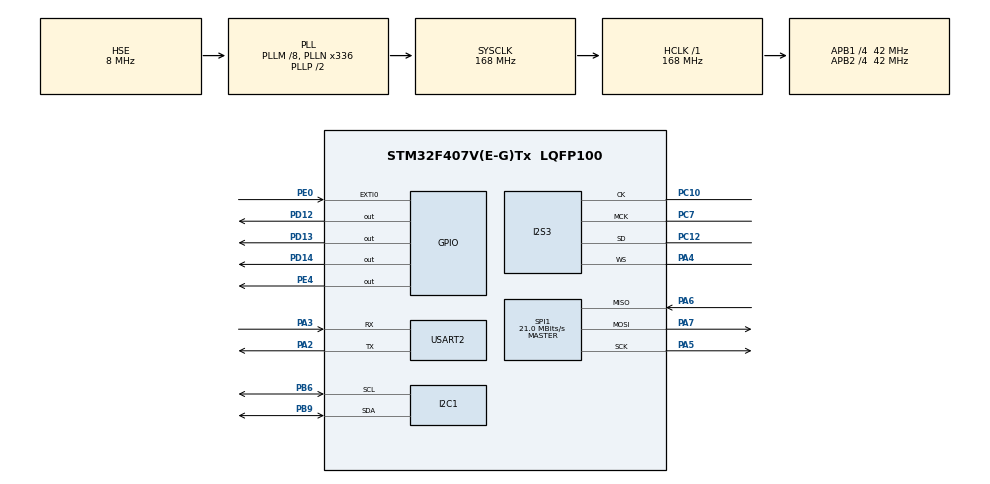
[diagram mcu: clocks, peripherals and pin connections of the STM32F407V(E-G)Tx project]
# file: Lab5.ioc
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Dma.Request0=SPI3_TX
Dma.SPI3_TX.0.Direction=DMA_MEMORY_TO_PERIPH
Dma.SPI3_TX.0.FIFOMode=DMA_FIFOMODE_ENABLE
Dma.SPI3_TX.0.FIFOThreshold=DMA_FIFO_THRESHOLD_FULL
Dma.SPI3_TX.0.Instance=DMA1_Stream5
Dma.SPI3_TX.0.MemBurst=DMA_MBURST_SINGLE
Dma.SPI3_TX.0.MemDataAlignment=DMA_MDATAALIGN_HALFWORD
Dma.SPI3_TX.0.MemInc=DMA_MINC_ENABLE
Dma.SPI3_TX.0.Mode=DMA_CIRCULAR
Dma.SPI3_TX.0.PeriphBurst=DMA_PBURST_SINGLE
Dma.SPI3_TX.0.PeriphDataAlignment=DMA_PDATAALIGN_HALFWORD
Dma.SPI3_TX.0.PeriphInc=DMA_PINC_DISABLE
Dma.SPI3_TX.0.Priority=DMA_PRIORITY_LOW
I2S3.AudioFreq=I2S_AUDIOFREQ_44K
I2S3.ErrorAudioFreq=0.24 %
I2S3.FullDuplexMode=I2S_FULLDUPLEXMODE_DISABLE
I2S3.Instance=SPI$Index
I2S3.RealAudioFreq=44.108 KHz
I2S3.VirtualMode=I2S_MODE_MASTER
Mcu.Family=STM32F4
Mcu.Name=STM32F407V(E-G)Tx
Mcu.Package=LQFP100
NVIC.DMA1_Stream5_IRQn=true\:0\:0\:false\:false\:true\:false\:true\:true
NVIC.EXTI0_IRQn=true\:15\:0\:true\:false\:true\:true\:true\:true
NVIC.PriorityGroup=NVIC_PRIORITYGROUP_4
NVIC.TIM7_IRQn=true\:15\:0\:false\:false\:true\:false\:true\:true
NVIC.TimeBase=TIM7_IRQn
NVIC.TimeBaseIP=TIM7
PA13.Mode=Serial_Wire
PA13.Signal=SYS_JTMS-SWDIO
PA14.Mode=Serial_Wire
PA14.Signal=SYS_JTCK-SWCLK
PA2.Mode=Asynchronous
PA2.Signal=USART2_TX
PA3.Mode=Asynchronous
PA3.Signal=USART2_RX
PA4.Mode=Half_Duplex_Master
PA4.Signal=I2S3_WS
PA5.Mode=Full_Duplex_Master
PA5.Signal=SPI1_SCK
PA6.Mode=Full_Duplex_Master
PA6.Signal=SPI1_MISO
PA7.Mode=Full_Duplex_Master
PA7.Signal=SPI1_MOSI
PB6.GPIO_Pu=GPIO_PULLUP
PB6.Mode=I2C
PB6.Signal=I2C1_SCL
PB9.GPIO_Pu=GPIO_PULLUP
PB9.Mode=I2C
PB9.Signal=I2C1_SDA
PC10.Mode=Half_Duplex_Master
PC10.Signal=I2S3_CK
PC12.Mode=Half_Duplex_Master
PC12.Signal=I2S3_SD
PC7.Mode=Master_Clock_Activated
PC7.Signal=I2S3_MCK
PD12.Signal=GPIO_Output
PD13.Signal=GPIO_Output
PD14.Signal=GPIO_Output
PE0.Signal=GPXTI0
PE4.Signal=GPIO_Output
PH0-OSC_IN.Mode=HSE-External-Oscillator
PH0-OSC_IN.Signal=RCC_OSC_IN
PH1-OSC_OUT.Mode=HSE-External-Oscillator
PH1-OSC_OUT.Signal=RCC_OSC_OUT
ProjectManager.HeapSize=0x200
ProjectManager.StackSize=0x400
ProjectManager.TargetToolchain=STM32CubeIDE
RCC.48MHZClocksFreq_Value=84000000
RCC.AHBFreq_Value=168000000
RCC.APB1CLKDivider=RCC_HCLK_DIV4
RCC.APB1Freq_Value=42000000
RCC.APB1TimFreq_Value=84000000
RCC.APB2CLKDivider=RCC_HCLK_DIV4
RCC.APB2Freq_Value=42000000
RCC.APB2TimFreq_Value=84000000
RCC.CortexFreq_Value=168000000
RCC.HCLKFreq_Value=168000000
RCC.HSE_VALUE=8000000
RCC.HSI_VALUE=16000000
RCC.LSE_VALUE=32768
RCC.PLLI2SN=271
RCC.PLLI2SR=6
RCC.PLLM=8
RCC.PLLN=336
RCC.PLLSourceVirtual=RCC_PLLSOURCE_HSE
RCC.SYSCLKFreq_VALUE=168000000
RCC.SYSCLKSource=RCC_SYSCLKSOURCE_PLLCLK
RCC.VCOOutputFreq_Value=336000000
SPI1.BaudRatePrescaler=SPI_BAUDRATEPRESCALER_2
SPI1.CalculateBaudRate=21.0 MBits/s
SPI1.Direction=SPI_DIRECTION_2LINES
SPI1.Mode=SPI_MODE_MASTER
SPI1.VirtualType=VM_MASTER
USART2.VirtualMode=VM_ASYNC
VP_SYS_VS_tim7.Mode=TIM7
board=custom

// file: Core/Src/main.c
/* USER CODE BEGIN Header */
/**
 ******************************************************************************
 * @file           : main.c
 * @brief          : Main program body
 ******************************************************************************
 * @attention
 *
 * <h2><center>&copy; Copyright (c) 2021 STMicroelectronics.
 * All rights reserved.</center></h2>
 *
 * This software component is licensed by ST under BSD 3-Clause license,
 * the "License"; You may not use this file except in compliance with the
 * License. You may obtain a copy of the License at:
 *                        opensource.org/licenses/BSD-3-Clause
 *
 ******************************************************************************
 */

#include "mmc_sd.h"
#include "fatfs.h"
#include "fops.h"
#include <string.h>
//#include "main.h"
#include "FreeRTOS.h"

#include "queue.h"
#include "semphr.h"
#include "task.h"
#include "File_Handling.h"
#include "waveplayer.h"
/* USER CODE END Header */
#include "main.h"

/* USER CODE BEGIN Includes */
//#define RXBUFFERSIZE  256
//char RxBuffer[RXBUFFERSIZE];
//#include <stdio.h>
/* USER CODE END Includes */

I2C_HandleTypeDef hi2c1;

I2S_HandleTypeDef hi2s3;
DMA_HandleTypeDef hdma_spi3_tx;

SPI_HandleTypeDef hspi1;

UART_HandleTypeDef huart2;

void SystemClock_Config(void);
static void MX_GPIO_Init(void);
static void MX_DMA_Init(void);
void MX_SPI1_Init(void);
static void MX_I2C1_Init(void);
static void MX_I2S3_Init(void);
static void MX_USART2_UART_Init(void);
/* USER CODE BEGIN PFP */
//extern ApplicationTypeDef Appli_state;
extern AUDIO_PLAYBACK_StateTypeDef AudioState;
SemaphoreHandle_t xSemaphore;
uint8_t flag = pdTRUE;
uint8_t isFinished = 0;

/* USER CODE END PFP */

/* USER CODE BEGIN 0 */
//UART_HandleTypeDef UartHandle;
/* Private function prototypes -----------------------------------------------*/
void Task1(void *pvParameters);
void Task2(void *pvParameters);
void Task3(void *pvParameters);
SemaphoreHandle_t xMutex = NULL;
SemaphoreHandle_t empty = NULL;
SemaphoreHandle_t full = NULL;
SemaphoreHandle_t mutex_v;

void SD_RdWrTest(void) {
	int i = 0;
	static uint8_t bufr[SD_SECTOR_SIZE];
	static uint8_t bufw[SD_SECTOR_SIZE];

	for (i = 0; i < sizeof(bufw); i++) {
		bufr[i] = 0;
		bufw[i] = i % 0xFF;
	}

	SD_WriteDisk(bufw, 1, 1);
	SD_ReadDisk(bufr, 1, 1);
	printf("# SD Card Read & Write Test %s!\r\n",
			memcmp(bufr, bufw, sizeof(bufr)) == 0 ? "Successfully" : "Failed");
}
/* USER CODE END 0 */

int main(void)
{
  /* USER CODE BEGIN 1 */
	uint64_t CardSize = 0;
  /* USER CODE END 1 */

  /* MCU Configuration--------------------------------------------------------*/

  /* Reset of all peripherals, Initializes the Flash interface and the Systick. */
  HAL_Init();

  /* Configure the system clock */
  SystemClock_Config();

  /* Initialize all configured peripherals */
  MX_GPIO_Init();
  MX_DMA_Init();
  MX_SPI1_Init();
  MX_I2C1_Init();
  MX_I2S3_Init();
  MX_USART2_UART_Init();
  /* USER CODE BEGIN 2 */

	/*CardSize = SD_GetSectorCount();

	CardSize = CardSize * SD_SECTOR_SIZE / 1024 / 1024;

	printf("# SD Card Type:0x%02X\r\n", SD_Type);
	printf("# SD Card Size:%luMB\r\n", (uint32_t) CardSize);
	HAL_Delay(1000);

	printf(
			"\r\n\r\n####################### HAL Libary SD Card SPI FATFS Demo ################################\r\n");
	MX_FATFS_Init();
	exf_mount();
	exf_getfree();
	FATFS_RdWrTest();

	xTaskCreate(Task3, "task3", 500, NULL, 1, NULL);*/
	/* How to use semaphore_binary in Lab3... */

       mutex_v = xSemaphoreCreateMutex();                  //創建一個互斥旗標 mutex_v
	xTaskCreate(Task1, "task1", 1000, NULL, 1, NULL);
	xTaskCreate(Task2, "task2", 1000, NULL, 1, NULL);

	vTaskStartScheduler();
  /* USER CODE END 2 */

  /* Infinite loop */
	while (1) {

	}
}

void SystemClock_Config(void)
{
  RCC_OscInitTypeDef RCC_OscInitStruct = {0};
  RCC_ClkInitTypeDef RCC_ClkInitStruct = {0};

  /** Configure the main internal regulator output voltage
  */
  __HAL_RCC_PWR_CLK_ENABLE();
  __HAL_PWR_VOLTAGESCALING_CONFIG(PWR_REGULATOR_VOLTAGE_SCALE1);

  /** Initializes the RCC Oscillators according to the specified parameters
  * in the RCC_OscInitTypeDef structure.
  */
  RCC_OscInitStruct.OscillatorType = RCC_OSCILLATORTYPE_HSE;
  RCC_OscInitStruct.HSEState = RCC_HSE_ON;
  RCC_OscInitStruct.PLL.PLLState = RCC_PLL_ON;
  RCC_OscInitStruct.PLL.PLLSource = RCC_PLLSOURCE_HSE;
  RCC_OscInitStruct.PLL.PLLM = 8;
  RCC_OscInitStruct.PLL.PLLN = 336;
  RCC_OscInitStruct.PLL.PLLP = RCC_PLLP_DIV2;
  RCC_OscInitStruct.PLL.PLLQ = 4;
  if (HAL_RCC_OscConfig(&RCC_OscInitStruct) != HAL_OK)
  {
    Error_Handler();
  }

  /** Initializes the CPU, AHB and APB buses clocks
  */
  RCC_ClkInitStruct.ClockType = RCC_CLOCKTYPE_HCLK|RCC_CLOCKTYPE_SYSCLK
                              |RCC_CLOCKTYPE_PCLK1|RCC_CLOCKTYPE_PCLK2;
  RCC_ClkInitStruct.SYSCLKSource = RCC_SYSCLKSOURCE_PLLCLK;
  RCC_ClkInitStruct.AHBCLKDivider = RCC_SYSCLK_DIV1;
  RCC_ClkInitStruct.APB1CLKDivider = RCC_HCLK_DIV4;
  RCC_ClkInitStruct.APB2CLKDivider = RCC_HCLK_DIV4;

  if (HAL_RCC_ClockConfig(&RCC_ClkInitStruct, FLASH_LATENCY_5) != HAL_OK)
  {
    Error_Handler();
  }
}

static void MX_I2C1_Init(void)
{

  hi2c1.Instance = I2C1;
  hi2c1.Init.ClockSpeed = 100000;
  hi2c1.Init.DutyCycle = I2C_DUTYCYCLE_2;
  hi2c1.Init.OwnAddress1 = 0;
  hi2c1.Init.AddressingMode = I2C_ADDRESSINGMODE_7BIT;
  hi2c1.Init.DualAddressMode = I2C_DUALADDRESS_DISABLE;
  hi2c1.Init.OwnAddress2 = 0;
  hi2c1.Init.GeneralCallMode = I2C_GENERALCALL_DISABLE;
  hi2c1.Init.NoStretchMode = I2C_NOSTRETCH_DISABLE;
  if (HAL_I2C_Init(&hi2c1) != HAL_OK)
  {
    Error_Handler();
  }

}

static void MX_I2S3_Init(void)
{

  hi2s3.Instance = SPI3;
  hi2s3.Init.Mode = I2S_MODE_MASTER_TX;
  hi2s3.Init.Standard = I2S_STANDARD_PHILIPS;
  hi2s3.Init.DataFormat = I2S_DATAFORMAT_16B;
  hi2s3.Init.MCLKOutput = I2S_MCLKOUTPUT_ENABLE;
  hi2s3.Init.AudioFreq = I2S_AUDIOFREQ_44K;
  hi2s3.Init.CPOL = I2S_CPOL_LOW;
  hi2s3.Init.ClockSource = I2S_CLOCK_PLL;
  hi2s3.Init.FullDuplexMode = I2S_FULLDUPLEXMODE_DISABLE;
  if (HAL_I2S_Init(&hi2s3) != HAL_OK)
  {
    Error_Handler();
  }

}

void MX_SPI1_Init(void)
{

  /* SPI1 parameter configuration*/
  hspi1.Instance = SPI1;
  hspi1.Init.Mode = SPI_MODE_MASTER;
  hspi1.Init.Direction = SPI_DIRECTION_2LINES;
  hspi1.Init.DataSize = SPI_DATASIZE_8BIT;
  hspi1.Init.CLKPolarity = SPI_POLARITY_LOW;
  hspi1.Init.CLKPhase = SPI_PHASE_1EDGE;
  hspi1.Init.NSS = SPI_NSS_SOFT;
  hspi1.Init.BaudRatePrescaler = SPI_BAUDRATEPRESCALER_2;
  hspi1.Init.FirstBit = SPI_FIRSTBIT_MSB;
  hspi1.Init.TIMode = SPI_TIMODE_DISABLE;
  hspi1.Init.CRCCalculation = SPI_CRCCALCULATION_DISABLE;
  hspi1.Init.CRCPolynomial = 10;
  if (HAL_SPI_Init(&hspi1) != HAL_OK)
  {
    Error_Handler();
  }

}

static void MX_USART2_UART_Init(void)
{

  huart2.Instance = USART2;
  huart2.Init.BaudRate = 115200;
  huart2.Init.WordLength = UART_WORDLENGTH_8B;
  huart2.Init.StopBits = UART_STOPBITS_1;
  huart2.Init.Parity = UART_PARITY_NONE;
  huart2.Init.Mode = UART_MODE_TX_RX;
  huart2.Init.HwFlowCtl = UART_HWCONTROL_NONE;
  huart2.Init.OverSampling = UART_OVERSAMPLING_16;
  if (HAL_UART_Init(&huart2) != HAL_OK)
  {
    Error_Handler();
  }

}

static void MX_DMA_Init(void)
{

  /* DMA controller clock enable */
  __HAL_RCC_DMA1_CLK_ENABLE();

  /* DMA interrupt init */
  /* DMA1_Stream5_IRQn interrupt configuration */
  HAL_NVIC_SetPriority(DMA1_Stream5_IRQn, 0, 0);
  HAL_NVIC_EnableIRQ(DMA1_Stream5_IRQn);

}

static void MX_GPIO_Init(void)
{
  GPIO_InitTypeDef GPIO_InitStruct = {0};

  /* GPIO Ports Clock Enable */
  __HAL_RCC_GPIOE_CLK_ENABLE();
  __HAL_RCC_GPIOH_CLK_ENABLE();
  __HAL_RCC_GPIOA_CLK_ENABLE();
  __HAL_RCC_GPIOD_CLK_ENABLE();
  __HAL_RCC_GPIOC_CLK_ENABLE();
  __HAL_RCC_GPIOB_CLK_ENABLE();

  /*Configure GPIO pin Output Level */
  HAL_GPIO_WritePin(GPIOE, GPIO_PIN_4, GPIO_PIN_RESET);

  /*Configure GPIO pin Output Level */
  HAL_GPIO_WritePin(GPIOD, GPIO_PIN_12|GPIO_PIN_13|GPIO_PIN_14, GPIO_PIN_RESET);

  /*Configure GPIO pin : PE4 */
  GPIO_InitStruct.Pin = GPIO_PIN_4;
  GPIO_InitStruct.Mode = GPIO_MODE_OUTPUT_PP;
  GPIO_InitStruct.Pull = GPIO_NOPULL;
  GPIO_InitStruct.Speed = GPIO_SPEED_FREQ_LOW;
  HAL_GPIO_Init(GPIOE, &GPIO_InitStruct);

  /*Configure GPIO pins : PD12 PD13 PD14 */
  GPIO_InitStruct.Pin = GPIO_PIN_12|GPIO_PIN_13|GPIO_PIN_14;
  GPIO_InitStruct.Mode = GPIO_MODE_OUTPUT_PP;
  GPIO_InitStruct.Pull = GPIO_NOPULL;
  GPIO_InitStruct.Speed = GPIO_SPEED_FREQ_LOW;
  HAL_GPIO_Init(GPIOD, &GPIO_InitStruct);

  /*Configure GPIO pin : PE0 */
  GPIO_InitStruct.Pin = GPIO_PIN_0;
  GPIO_InitStruct.Mode = GPIO_MODE_IT_RISING;
  GPIO_InitStruct.Pull = GPIO_NOPULL;
  HAL_GPIO_Init(GPIOE, &GPIO_InitStruct);

  /* EXTI interrupt init*/
  HAL_NVIC_SetPriority(EXTI0_IRQn, 15, 0);
  HAL_NVIC_EnableIRQ(EXTI0_IRQn);

}

/* USER CODE BEGIN 4 */
void Task1(void *pvParameters) {
	while(1)
	     {
	           xSemaphoreTake(mutex_v, portMAX_DELAY);       //獲取互斥旗標 Mutex_v
	           printf("file open OK in task1\r\n");
	           xSemaphoreGive(mutex_v);                      //返回互斥旗標 Mutex_v
	           vTaskDelay(pdMS_TO_TICKS(1000));              //延遲 1 秒
	     }
}

void Task2(void *pvParameters) {

	while(1)
	     {
	           xSemaphoreTake(mutex_v, portMAX_DELAY);       //獲取互斥旗標 Mutex_v
	           printf("file open OK in task2\r\n");
	           xSemaphoreGive(mutex_v);                      //返回互斥旗標 Mutex_v
	           vTaskDelay(pdMS_TO_TICKS(1000));               //延遲 0.5 秒
	     }
}

void Task3(void *pvParameters) {
	for (;;) {
		int isFinished = 0;
		AUDIO_PLAYER_Start(0);

		while(!isFinished){
			AUDIO_PLAYER_Process(pdTRUE);

			if(AudioState == AUDIO_STATE_STOP){
				isFinished = 1;
			}
		}
	}

}

void HAL_GPIO_EXTI_Callback(uint16_t GPIO_Pin) {
	BaseType_t xHigherPriorityTaskWoken;
	if (GPIO_Pin == GPIO_PIN_0) {
		xHigherPriorityTaskWoken = pdFALSE;
		if (flag == pdTRUE) {
			xSemaphoreGiveFromISR(xSemaphore, &xHigherPriorityTaskWoken);
		} else {
			//do nothing
		}

		HAL_GPIO_TogglePin(GPIOD, GPIO_PIN_14);
		uint8_t data_1 = 0x5f | 0x80;
		HAL_GPIO_WritePin(GPIOE, GPIO_PIN_3, GPIO_PIN_RESET);
		HAL_SPI_Transmit(&hspi1, &data_1, 1, 10);
		////	HAL_Delay(10);
		HAL_SPI_Receive(&hspi1, &data_1, 1, 10);
		HAL_GPIO_WritePin(GPIOE, GPIO_PIN_3, GPIO_PIN_SET);
		portYIELD_FROM_ISR(xHigherPriorityTaskWoken);
	}

}
/* USER CODE END 4 */

void HAL_TIM_PeriodElapsedCallback(TIM_HandleTypeDef *htim)
{
  if (htim->Instance == TIM7) {
    HAL_IncTick();
  }
}

void Error_Handler(void)
{
	__disable_irq();
	while (1) {
	}
}
